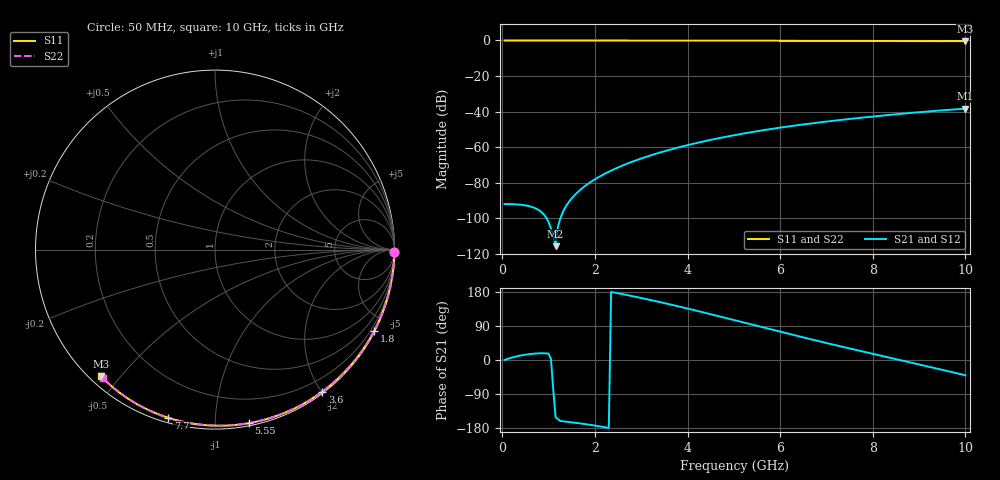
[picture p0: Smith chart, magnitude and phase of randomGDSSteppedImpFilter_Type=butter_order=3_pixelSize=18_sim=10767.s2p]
! freq	dB(S11)	phase(S11)	dB(S12)	phase(S12)
!  dB(S21)	phase(S21)	dB(S22)	phase(S22)
!S-par simulation data
#  GHz  S  DB  R 50
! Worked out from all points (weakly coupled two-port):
!   200 points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, 50 MHz to 10 GHz, reference 50 ohm
!   highest |S21| = -38.36 dB at 10 GHz (marker M1); lowest = -115.7 dB at 1.15 GHz (marker M2)
!   lowest |S11| = -0.4 dB at 10 GHz (marker M3), VSWR 39.04, Z = 1.53 - j22.3 ohm
!   |S11| at or under -10 dB: nowhere
!   |S22| runs from -0.4 to 0.0 dB; largest |S21 - S12| = 0
!   S11 on the Smith chart (normalised r, x): 50 MHz: open; 1.8 GHz: 0.04, -4.16; 3.6 GHz: 0.02, -2.01; 5.55 GHz: 0.02, -1.21; 7.7 GHz: 0.02, -0.76; 10 GHz: 0.03, -0.45
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0.05  -0.00 -0.8  -91.98 0.0  -91.98 0.0  -0.00 -0.8
0.6  -0.01 -9.1  -93.32 15.7  -93.32 15.7  -0.01 -9.1
1.15  -0.02 -17.4  -115.67 -150.9  -115.67 -150.9  -0.02 -17.3
1.75  -0.03 -26.3  -82.56 -168.5  -82.56 -168.5  -0.03 -26.1
1.8  -0.03 -27.1  -81.57 -169.3  -81.57 -169.3  -0.03 -26.9
1.9  -0.04 -28.5  -79.73 -171.2  -79.73 -171.2  -0.04 -28.3
2.05  -0.04 -30.7  -77.29 -174.1  -77.29 -174.1  -0.04 -30.5
2.25  -0.04 -33.6  -74.45 -178.3  -74.45 -178.3  -0.04 -33.4
2.45  -0.05 -36.6  -71.97 177.2  -71.97 177.2  -0.05 -36.3
2.65  -0.05 -39.4  -69.76 172.5  -69.76 172.5  -0.05 -39.2
3  -0.06 -44.4  -66.37 163.7  -66.37 163.7  -0.06 -44.1
3.4  -0.07 -50.1  -63.05 152.9  -63.05 152.9  -0.07 -49.8
3.6  -0.07 -52.9  -61.56 147.3  -61.56 147.3  -0.07 -52.5
4.3  -0.09 -62.5  -57.03 126.9  -57.03 126.9  -0.09 -62.1
5.05  -0.11 -72.5  -53.07 104.0  -53.07 104.0  -0.11 -72.0
5.55  -0.13 -79.0  -50.82 88.5  -50.82 88.5  -0.13 -78.5
6.1  -0.15 -86.0  -48.64 71.6  -48.64 71.6  -0.15 -85.4
6.7  -0.18 -93.4  -46.56 53.6  -46.56 53.6  -0.18 -92.8
7.7  -0.24 -105.5  -43.58 24.8  -43.58 24.8  -0.24 -104.8
8.35  -0.29 -113.1  -41.88 6.6  -41.88 6.6  -0.29 -112.4
9.15  -0.36 -122.3  -40.01 -15.8  -40.01 -15.8  -0.36 -121.6
10  -0.45 -132.0  -38.36 -40.4  -38.36 -40.4  -0.45 -131.1
